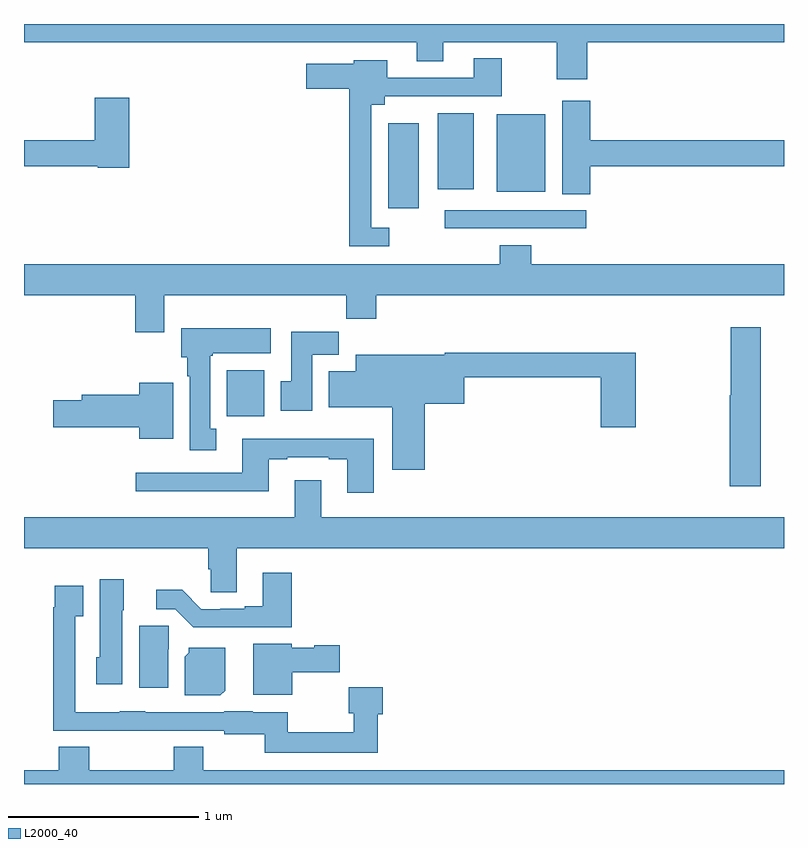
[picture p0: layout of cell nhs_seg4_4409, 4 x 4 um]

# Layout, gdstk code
import gdstk
lib = gdstk.Library(unit=1e-6, precision=1e-09)
def R(c, l, rs):  # rectangles x0, y0, x1, y1
    for r in rs: c.add(gdstk.rectangle(r[:2], r[2:], *l))
def P(c, l, *ps):  # polygons
    for p in ps: c.add(gdstk.Polygon(p, *l))
L2000_40 = (2000, 40)

nhs_seg4_4409 = lib.new_cell('nhs_seg4_4409')
R(nhs_seg4_4409, L2000_40, [(348.068,810.836,348.265,811.078), (349.215,811.824,349.96,811.92), (348.917,811.929,349.078,812.377), (349.487,812.018,349.744,812.425), (349.178,812.03,349.366,812.431)])
P(nhs_seg4_4409, L2000_40, [(349.964,812.804),(351,812.804),(351,812.9),(347,812.9),(347,812.804),(349.067,812.804),(349.067,812.705),(349.207,812.705),(349.207,812.804),(349.804,812.804),(349.804,812.61),(349.964,812.61)],
  [(348.922,811.827),(348.828,811.827),(348.828,812.474),(348.898,812.474),(348.898,812.52),(349.515,812.52),(349.515,812.719),(349.367,812.719),(349.367,812.616),(348.913,812.616),(348.913,812.71),(348.735,812.71),(348.735,812.692),(348.486,812.692),(348.486,812.558),(348.712,812.558),(348.712,811.731),(348.922,811.731)],
  [(347.555,812.512),(347.372,812.512),(347.372,812.288),(347,812.288),(347,812.152),(347.388,812.152),(347.388,812.144),(347.555,812.144)],
  [(349.979,812.152),(351,812.152),(351,812.288),(349.979,812.288),(349.979,812.497),(349.832,812.497),(349.832,812.005),(349.979,812.005)],
  [(347,811.472),(347.585,811.472),(347.585,811.278),(347.737,811.278),(347.737,811.472),(348.697,811.472),(348.697,811.348),(348.854,811.348),(348.854,811.472),(351,811.472),(351,811.636),(349.67,811.636),(349.67,811.735),(349.505,811.735),(349.505,811.636),(347,811.636)],
  [(350.878,811.303),(350.72,811.303),(350.72,810.945),(350.714,810.945),(350.714,810.468),(350.878,810.468)],
  [(348.013,810.77),(347.98,810.77),(347.98,811.153),(347.994,811.153),(347.994,811.166),(348.298,811.166),(348.298,811.3),(347.828,811.3),(347.828,811.146),(347.858,811.146),(347.858,811.046),(347.873,811.046),(347.873,810.657),(348.013,810.657)],
  [(348.517,811.16),(348.656,811.16),(348.656,811.279),(348.407,811.279),(348.407,811.02),(348.35,811.02),(348.35,810.864),(348.517,810.864)],
  [(349.109,810.902),(349.318,810.902),(349.318,811.042),(350.036,811.042),(350.036,810.777),(350.219,810.777),(350.219,811.171),(349.214,811.171),(349.214,811.159),(348.746,811.159),(348.746,811.072),(348.605,811.072),(348.605,810.884),(348.938,810.884),(348.938,810.555),(349.109,810.555)],
  [(347.785,811.012),(347.606,811.012),(347.606,810.95),(347.303,810.95),(347.303,810.92),(347.154,810.92),(347.154,810.778),(347.606,810.778),(347.606,810.716),(347.785,810.716)],
  [(348.841,810.718),(348.149,810.718),(348.149,810.537),(347.589,810.537),(347.589,810.44),(348.289,810.44),(348.289,810.609),(348.385,810.609),(348.385,810.621),(348.605,810.621),(348.605,810.609),(348.701,810.609),(348.701,810.432),(348.841,810.432)],
  [(348.121,810.14),(351,810.14),(351,810.304),(348.565,810.304),(348.565,810.499),(348.425,810.499),(348.425,810.304),(347,810.304),(347,810.14),(347.969,810.14),(347.969,810.03),(347.982,810.03),(347.982,809.908),(348.121,809.908)],
  [(348.41,810.013),(348.257,810.013),(348.257,809.836),(348.161,809.836),(348.161,809.823),(348.034,809.823),(348.034,809.82),(347.934,809.82),(347.832,809.923),(347.697,809.923),(347.697,809.82),(347.796,809.82),(347.89,809.726),(348.41,809.726)],
  [(347.518,809.814),(347.524,809.814),(347.524,809.977),(347.399,809.977),(347.399,809.568),(347.381,809.568),(347.381,809.424),(347.518,809.424)],
  [(348.863,809.266),(348.887,809.266),(348.887,809.408),(348.709,809.408),(348.709,809.273),(348.735,809.273),(348.735,809.173),(348.388,809.173),(348.388,809.278),(348.204,809.278),(348.204,809.284),(348.054,809.284),(348.054,809.277),(347.637,809.277),(347.637,809.284),(347.505,809.284),(347.505,809.278),(347.271,809.278),(347.271,809.783),(347.311,809.783),(347.311,809.944),(347.163,809.944),(347.163,809.831),(347.155,809.831),(347.155,809.181),(347.405,809.181),(347.405,809.18),(347.637,809.18),(347.637,809.181),(348.054,809.181),(348.054,809.162),(348.267,809.162),(348.267,809.064),(348.863,809.064)],
  [(347.758,809.61),(347.762,809.61),(347.762,809.733),(347.606,809.733),(347.606,809.406),(347.758,809.406)],
  [(348.412,809.488),(348.661,809.488),(348.661,809.63),(348.528,809.63),(348.528,809.617),(348.408,809.617),(348.408,809.638),(348.206,809.638),(348.206,809.369),(348.412,809.369)],
  [(348.058,809.392),(348.058,809.617),(347.868,809.617),(347.868,809.592),(347.846,809.57),(347.846,809.366),(348.032,809.366)],
  [(351,808.972),(347.943,808.972),(347.943,809.096),(347.788,809.096),(347.788,808.972),(347.343,808.972),(347.343,809.096),(347.183,809.096),(347.183,808.972),(347,808.972),(347,808.9),(351,808.9)])

lib.write_gds('nhs_seg4_4409.gds')
